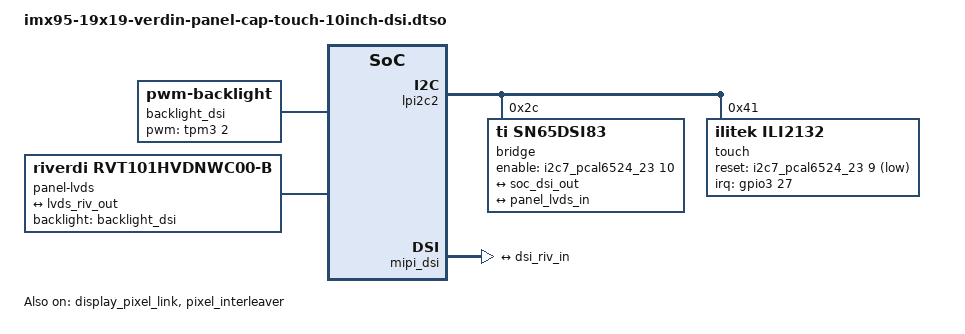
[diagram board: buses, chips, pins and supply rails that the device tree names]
// SPDX-License-Identifier: (GPL-2.0+ OR MIT)
/*
 * Copyright 2024 NXP
 */

/dts-v1/;
/plugin/;

#include <dt-bindings/gpio/gpio.h>
#include <dt-bindings/interrupt-controller/irq.h>
#include "imx95-clock.h"

&{/} {
	backlight_dsi: backlight-dsi {
		compatible = "pwm-backlight";
		pwms = <&tpm3 2 4000000 0>;
	};

	panel-lvds {
		compatible = "riverdi,rvt101hvdnwc00-b", "panel-lvds";
		backlight = <&backlight_dsi>;
		data-mapping = "vesa-24";
		height-mm = <136>;
		width-mm = <217>;

		panel-timing {
			clock-frequency = <70000000>;
			de-active = <1>;
			hactive = <1280 1280 1280>;
			hback-porch = <64 64 64>;
			hfront-porch = <16 16 16>;
			hsync-active = <0>;
			hsync-len = <24 24 24>;
			vactive = <800 800 800>;
			vback-porch = <24 24 24>;
			vfront-porch = <8 8 8>;
			vsync-active = <0>;
			vsync-len = <8 8 8>;
		};

		port {
			panel_lvds_in: endpoint {
				remote-endpoint = <&lvds_riv_out>;
			};
		};
	};
};

&display_pixel_link {
	status = "okay";
};

&dpu {
	assigned-clocks = <&scmi_clk IMX95_CLK_DISP1PIX>,
			  <&scmi_clk IMX95_CLK_VIDEOPLL1_VCO>,
			  <&scmi_clk IMX95_CLK_VIDEOPLL1>;
	assigned-clock-parents = <&scmi_clk IMX95_CLK_VIDEOPLL1>;
	assigned-clock-rates = <0>, <3360000000>, <420000000>;
};

&lpi2c2 {
	#address-cells = <1>;
	#size-cells = <0>;

	bridge@2c {
		compatible = "ti,sn65dsi83";
		reg = <0x2c>;
		enable-gpios = <&i2c7_pcal6524_23 10 GPIO_ACTIVE_HIGH>;

		ports {
			#address-cells = <1>;
			#size-cells = <0>;

			port@0 {
				reg = <0>;

				dsi_riv_in: endpoint {
					data-lanes = <1 2 3 4>;
					remote-endpoint = <&soc_dsi_out>;
				};
			};

			port@2 {
				reg = <2>;

				lvds_riv_out: endpoint {
					remote-endpoint = <&panel_lvds_in>;
				};
			};
		};
	};

	touch@41 {
		compatible = "ilitek,ili2132";
		reg = <0x41>;
		interrupt-parent = <&gpio3>;
		interrupts = <27 IRQ_TYPE_LEVEL_LOW>;
		pinctrl-names = "default";
		pinctrl-0 = <&pinctrl_mipi_dsi_csi>, <&pinctrl_i2c7_pcal6524>;
		reset-gpios = <&i2c7_pcal6524_23 9 GPIO_ACTIVE_LOW>;
	};
};

&mipi_dsi {
	#address-cells = <1>;
	#size-cells = <0>;
	status = "okay";

	ports {
		#address-cells = <1>;
		#size-cells = <0>;

		port@1 {
			reg = <1>;

			soc_dsi_out: endpoint {
				remote-endpoint = <&dsi_riv_in>;
			};
		};
	};
};

&pixel_interleaver {
	#address-cells = <1>;
	#size-cells = <0>;
	status = "okay";

	channel@0 {
		reg = <0>;
		status = "okay";
	};
};
